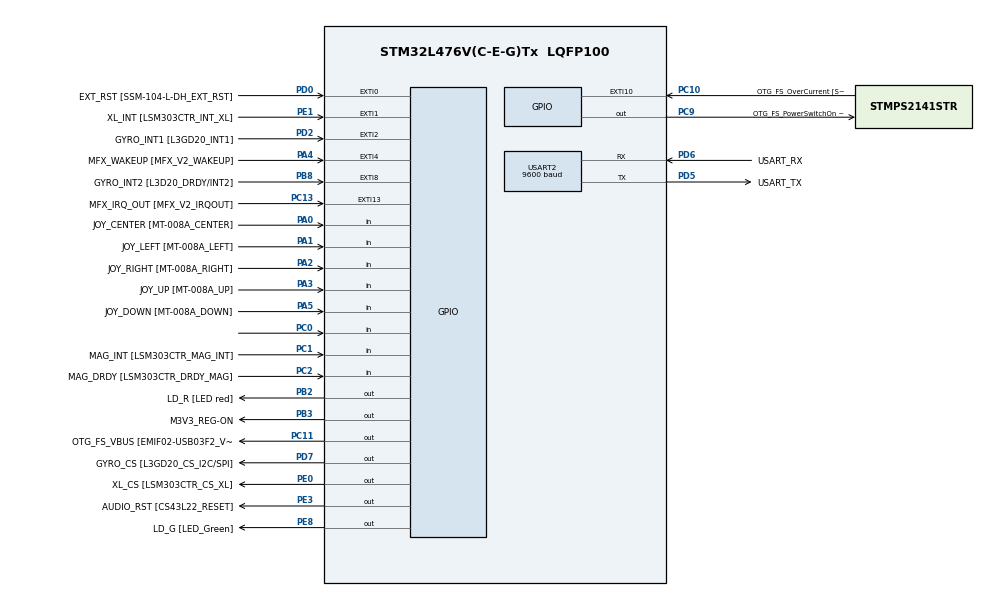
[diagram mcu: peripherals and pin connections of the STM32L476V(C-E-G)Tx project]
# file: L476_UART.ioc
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Mcu.Family=STM32L4
Mcu.Name=STM32L476V(C-E-G)Tx
Mcu.Package=LQFP100
NVIC.PriorityGroup=NVIC_PRIORITYGROUP_4
NVIC.USART2_IRQn=true\:0\:0\:false\:false\:true\:true\:true
PA0.GPIO_Label=JOY_CENTER [MT-008A_CENTER]
PA0.GPIO_Mode=GPIO_MODE_INPUT
PA0.GPIO_PuPd=GPIO_PULLDOWN
PA0.Signal=GPIO_Input
PA1.GPIO_Label=JOY_LEFT [MT-008A_LEFT]
PA1.GPIO_Mode=GPIO_MODE_INPUT
PA1.GPIO_PuPd=GPIO_PULLDOWN
PA1.Signal=GPIO_Input
PA10.GPIO_Label=COM2 [GH08172T_COM2]
PA10.GPIO_Mode=GPIO_MODE_AF_PP
PA10.GPIO_PuPd=GPIO_NOPULL
PA10.GPIO_Speed=GPIO_SPEED_FREQ_LOW
PA10.Signal=LCD_COM2
PA11.GPIO_Label=OTG_FS_DM [EMIF02-USB03F2_D-out]
PA11.GPIO_Mode=GPIO_MODE_AF_PP
PA11.GPIO_PuPd=GPIO_NOPULL
PA11.GPIO_Speed=GPIO_SPEED_FREQ_VERY_HIGH
PA11.Signal=USB_OTG_FS_DM
PA12.GPIO_Label=OTG_FS_DP [EMIF02-USB03F2_D+out]
PA12.GPIO_Mode=GPIO_MODE_AF_PP
PA12.GPIO_PuPd=GPIO_NOPULL
PA12.GPIO_Speed=GPIO_SPEED_FREQ_VERY_HIGH
PA12.Signal=USB_OTG_FS_DP
PA13\ (JTMS-SWDIO).GPIO_Label=SWDIO
PA13\ (JTMS-SWDIO).Mode=Serial_Wire
PA13\ (JTMS-SWDIO).Signal=SYS_JTMS-SWDIO
PA14\ (JTCK-SWCLK).GPIO_Label=SWCLK
PA14\ (JTCK-SWCLK).Mode=Serial_Wire
PA14\ (JTCK-SWCLK).Signal=SYS_JTCK-SWCLK
PA15\ (JTDI).GPIO_Label=SEG10 [GH08172T_SEG10]
PA15\ (JTDI).GPIO_Mode=GPIO_MODE_AF_PP
PA15\ (JTDI).GPIO_PuPd=GPIO_NOPULL
PA15\ (JTDI).GPIO_Speed=GPIO_SPEED_FREQ_LOW
PA15\ (JTDI).Signal=LCD_SEG17
PA2.GPIO_Label=JOY_RIGHT [MT-008A_RIGHT]
PA2.GPIO_Mode=GPIO_MODE_INPUT
PA2.GPIO_PuPd=GPIO_PULLDOWN
PA2.Signal=GPIO_Input
PA3.GPIO_Label=JOY_UP [MT-008A_UP]
PA3.GPIO_Mode=GPIO_MODE_INPUT
PA3.GPIO_PuPd=GPIO_PULLDOWN
PA3.Signal=GPIO_Input
PA4.GPIO_Label=MFX_WAKEUP [MFX_V2_WAKEUP]
PA4.GPIO_ModeDefaultEXTI=GPIO_MODE_EVT_RISING
PA4.GPIO_PuPd=GPIO_NOPULL
PA4.Signal=GPXTI4
PA5.GPIO_Label=JOY_DOWN [MT-008A_DOWN]
PA5.GPIO_Mode=GPIO_MODE_INPUT
PA5.GPIO_PuPd=GPIO_PULLDOWN
PA5.Signal=GPIO_Input
PA6.GPIO_Label=SEG23 [GH08172T_SEG23]
PA6.GPIO_Mode=GPIO_MODE_AF_PP
PA6.GPIO_PuPd=GPIO_NOPULL
PA6.GPIO_Speed=GPIO_SPEED_FREQ_LOW
PA6.Signal=LCD_SEG3
PA7.GPIO_Label=SEG0 [GH08172T_SEG0]
PA7.GPIO_Mode=GPIO_MODE_AF_PP
PA7.GPIO_PuPd=GPIO_NOPULL
PA7.GPIO_Speed=GPIO_SPEED_FREQ_LOW
PA7.Signal=LCD_SEG4
PA8.GPIO_Label=COM0 [GH08172T_COM0]
PA8.GPIO_Mode=GPIO_MODE_AF_PP
PA8.GPIO_PuPd=GPIO_NOPULL
PA8.GPIO_Speed=GPIO_SPEED_FREQ_LOW
PA8.Signal=LCD_COM0
PA9.GPIO_Label=COM1 [GH08172T_COM1]
PA9.GPIO_Mode=GPIO_MODE_AF_PP
PA9.GPIO_PuPd=GPIO_NOPULL
PA9.GPIO_Speed=GPIO_SPEED_FREQ_LOW
PA9.Signal=LCD_COM1
PB0.GPIO_Label=SEG21 [GH08172T_SEG21]
PB0.GPIO_Mode=GPIO_MODE_AF_PP
PB0.GPIO_PuPd=GPIO_NOPULL
PB0.GPIO_Speed=GPIO_SPEED_FREQ_LOW
PB0.Signal=LCD_SEG5
PB1.GPIO_Label=SEG2 [GH08172T_SEG2]
PB1.GPIO_Mode=GPIO_MODE_AF_PP
PB1.GPIO_PuPd=GPIO_NOPULL
PB1.GPIO_Speed=GPIO_SPEED_FREQ_LOW
PB1.Signal=LCD_SEG6
PB10.GPIO_Label=MFX_I2C_SLC [MFX_V2_I2C_SCL]
PB10.GPIO_Mode=GPIO_MODE_AF_OD
PB10.GPIO_PuPdOD=GPIO_PULLUP
PB10.GPIO_Speed=GPIO_SPEED_FREQ_VERY_HIGH
PB10.Signal=I2C2_SCL
PB11.GPIO_Label=MFX_I2C_SDA [MFX_V2_I2C_SDA]
PB11.GPIO_Mode=GPIO_MODE_AF_OD
PB11.GPIO_PuPdOD=GPIO_PULLUP
PB11.GPIO_Speed=GPIO_SPEED_FREQ_VERY_HIGH
PB11.Signal=I2C2_SDA
PB12.GPIO_Label=SEG20 [GH08172T_SEG20]
PB12.GPIO_Mode=GPIO_MODE_AF_PP
PB12.GPIO_PuPd=GPIO_NOPULL
PB12.GPIO_Speed=GPIO_SPEED_FREQ_LOW
PB12.Signal=LCD_SEG12
PB13.GPIO_Label=SEG3 [GH08172T_SEG3]
PB13.GPIO_Mode=GPIO_MODE_AF_PP
PB13.GPIO_PuPd=GPIO_NOPULL
PB13.GPIO_Speed=GPIO_SPEED_FREQ_LOW
PB13.Signal=LCD_SEG13
PB14.GPIO_Label=SEG19 [GH08172T_SEG19]
PB14.GPIO_Mode=GPIO_MODE_AF_PP
PB14.GPIO_PuPd=GPIO_NOPULL
PB14.GPIO_Speed=GPIO_SPEED_FREQ_LOW
PB14.Signal=LCD_SEG14
PB15.GPIO_Label=SEG4 [GH08172T_SEG4]
PB15.GPIO_Mode=GPIO_MODE_AF_PP
PB15.GPIO_PuPd=GPIO_NOPULL
PB15.GPIO_Speed=GPIO_SPEED_FREQ_LOW
PB15.Signal=LCD_SEG15
PB2.GPIO_Label=LD_R [LED red]
PB2.GPIO_ModeDefaultOutputPP=GPIO_MODE_OUTPUT_PP
PB2.GPIO_PuPd=GPIO_PULLUP
PB2.GPIO_Speed=GPIO_SPEED_FREQ_VERY_HIGH
PB2.Signal=GPIO_Output
PB3\ (JTDO-TRACESWO).GPIO_Label=M3V3_REG-ON
PB3\ (JTDO-TRACESWO).GPIO_ModeDefaultOutputPP=GPIO_MODE_OUTPUT_PP
PB3\ (JTDO-TRACESWO).GPIO_PuPd=GPIO_NOPULL
PB3\ (JTDO-TRACESWO).GPIO_Speed=GPIO_SPEED_FREQ_LOW
PB3\ (JTDO-TRACESWO).Signal=GPIO_Output
PB4\ (NJTRST).GPIO_Label=SEG11 [GH08172T_SEG11]
PB4\ (NJTRST).GPIO_Mode=GPIO_MODE_AF_PP
PB4\ (NJTRST).GPIO_PuPd=GPIO_NOPULL
PB4\ (NJTRST).GPIO_Speed=GPIO_SPEED_FREQ_LOW
PB4\ (NJTRST).Signal=LCD_SEG8
PB5.GPIO_Label=SEG12 [GH08172T_SEG12]
PB5.GPIO_Mode=GPIO_MODE_AF_PP
PB5.GPIO_PuPd=GPIO_NOPULL
PB5.GPIO_Speed=GPIO_SPEED_FREQ_LOW
PB5.Signal=LCD_SEG9
PB6.GPIO_FM6=__NULL
PB6.GPIO_Label=I2C1_SCL [SSM-104-L-DH_SCL]
PB6.GPIO_Mode=GPIO_MODE_AF_OD
PB6.GPIO_PuPdOD=GPIO_PULLUP
PB6.GPIO_Speed=GPIO_SPEED_FREQ_VERY_HIGH
PB6.Signal=I2C1_SCL
PB7.GPIO_FM7=__NULL
PB7.GPIO_Label=I2C1_SDA [SSM-104-L-DH_SDA]
PB7.GPIO_Mode=GPIO_MODE_AF_OD
PB7.GPIO_PuPdOD=GPIO_PULLUP
PB7.GPIO_Speed=GPIO_SPEED_FREQ_VERY_HIGH
PB7.Signal=I2C1_SDA
PB8.GPIO_Label=GYRO_INT2 [L3D20_DRDY/INT2]
PB8.GPIO_ModeDefaultEXTI=GPIO_MODE_EVT_RISING
PB8.GPIO_PuPd=GPIO_NOPULL
PB8.Signal=GPXTI8
PB9.GPIO_FM9=__NULL
PB9.GPIO_Label=COM3 [GH08172T_COM3]
PB9.GPIO_Mode=GPIO_MODE_AF_PP
PB9.GPIO_PuPd=GPIO_NOPULL
PB9.GPIO_Speed=GPIO_SPEED_FREQ_LOW
PB9.Signal=LCD_COM3
PC0.Signal=GPIO_Input
PC1.GPIO_Label=MAG_INT [LSM303CTR_MAG_INT]
PC1.GPIO_Mode=GPIO_MODE_INPUT
PC1.GPIO_PuPd=GPIO_NOPULL
PC1.Signal=GPIO_Input
PC10.GPIO_Label=OTG_FS_OverCurrent [STMPS2141STR_FAULT]
PC10.GPIO_ModeDefaultEXTI=GPIO_MODE_EVT_RISING
PC10.GPIO_PuPd=GPIO_NOPULL
PC10.Signal=GPXTI10
PC11.GPIO_Label=OTG_FS_VBUS [EMIF02-USB03F2_Vbus]
PC11.GPIO_ModeDefaultOutputPP=GPIO_MODE_OUTPUT_PP
PC11.GPIO_PuPd=GPIO_NOPULL
PC11.GPIO_Speed=GPIO_SPEED_FREQ_LOW
PC11.Signal=GPIO_Output
PC13.GPIO_Label=MFX_IRQ_OUT [MFX_V2_IRQOUT]
PC13.GPIO_ModeDefaultEXTI=GPIO_MODE_EVT_RISING
PC13.GPIO_PuPd=GPIO_NOPULL
PC13.Signal=GPXTI13
PC14-OSC32_IN\ (PC14).Signal=RCC_OSC32_IN
PC15-OSC32_OUT\ (PC15).Signal=RCC_OSC32_OUT
PC2.GPIO_Label=MAG_DRDY [LSM303CTR_DRDY_MAG]
PC2.GPIO_Mode=GPIO_MODE_INPUT
PC2.GPIO_PuPd=GPIO_NOPULL
PC2.Signal=GPIO_Input
PC3.GPIO_Label=VLCD
PC3.GPIO_Mode=GPIO_MODE_AF_PP
PC3.GPIO_PuPd=GPIO_NOPULL
PC3.GPIO_Speed=GPIO_SPEED_FREQ_LOW
PC3.Signal=LCD_VLCD
PC4.GPIO_Label=SEG22 [GH08172T_SEG22]
PC4.GPIO_Mode=GPIO_MODE_AF_PP
PC4.GPIO_PuPd=GPIO_NOPULL
PC4.GPIO_Speed=GPIO_SPEED_FREQ_LOW
PC4.Signal=LCD_SEG22
PC5.GPIO_Label=SEG1 [GH08172T_SEG1]
PC5.GPIO_Mode=GPIO_MODE_AF_PP
PC5.GPIO_PuPd=GPIO_NOPULL
PC5.GPIO_Speed=GPIO_SPEED_FREQ_LOW
PC5.Signal=LCD_SEG23
PC6.GPIO_Label=SEG14 [GH08172T_SEG14]
PC6.GPIO_Mode=GPIO_MODE_AF_PP
PC6.GPIO_PuPd=GPIO_NOPULL
PC6.GPIO_Speed=GPIO_SPEED_FREQ_LOW
PC6.Signal=LCD_SEG24
PC7.GPIO_Label=SEG9 [GH08172T_SEG9]
PC7.GPIO_Mode=GPIO_MODE_AF_PP
PC7.GPIO_PuPd=GPIO_NOPULL
PC7.GPIO_Speed=GPIO_SPEED_FREQ_LOW
PC7.Signal=LCD_SEG25
PC8.GPIO_Label=SEG13 [GH08172T_SEG13]
PC8.GPIO_Mode=GPIO_MODE_AF_PP
PC8.GPIO_PuPd=GPIO_NOPULL
PC8.GPIO_Speed=GPIO_SPEED_FREQ_LOW
PC8.Signal=LCD_SEG26
PC9.GPIO_Label=OTG_FS_PowerSwitchOn [STMPS2141STR_EN]
PC9.GPIO_ModeDefaultOutputPP=GPIO_MODE_OUTPUT_PP
PC9.GPIO_PuPd=GPIO_NOPULL
PC9.GPIO_Speed=GPIO_SPEED_FREQ_LOW
PC9.PinState=GPIO_PIN_SET
PC9.Signal=GPIO_Output
PD0.GPIO_Label=EXT_RST [SSM-104-L-DH_EXT_RST]
PD0.GPIO_ModeDefaultEXTI=GPIO_MODE_EVT_RISING
PD0.GPIO_PuPd=GPIO_NOPULL
PD0.Signal=GPXTI0
PD1.GPIO_Label=MEMS_SCK [L3GD20_SCL/SPC]
PD1.GPIO_Mode=GPIO_MODE_AF_PP
PD1.GPIO_PuPd=GPIO_NOPULL
PD1.GPIO_Speed=GPIO_SPEED_FREQ_VERY_HIGH
PD1.Signal=SPI2_SCK
PD10.GPIO_Label=SEG17 [GH08172T_SEG17]
PD10.GPIO_Mode=GPIO_MODE_AF_PP
PD10.GPIO_PuPd=GPIO_NOPULL
PD10.GPIO_Speed=GPIO_SPEED_FREQ_LOW
PD10.Signal=LCD_SEG30
PD11.GPIO_Label=SEG6 [GH08172T_SEG6]
PD11.GPIO_Mode=GPIO_MODE_AF_PP
PD11.GPIO_PuPd=GPIO_NOPULL
PD11.GPIO_Speed=GPIO_SPEED_FREQ_LOW
PD11.Signal=LCD_SEG31
PD12.GPIO_Label=SEG16 [GH08172T_SEG16]
PD12.GPIO_Mode=GPIO_MODE_AF_PP
PD12.GPIO_PuPd=GPIO_NOPULL
PD12.GPIO_Speed=GPIO_SPEED_FREQ_LOW
PD12.Signal=LCD_SEG32
PD13.GPIO_Label=SEG7 [GH08172T_SEG7]
PD13.GPIO_Mode=GPIO_MODE_AF_PP
PD13.GPIO_PuPd=GPIO_NOPULL
PD13.GPIO_Speed=GPIO_SPEED_FREQ_LOW
PD13.Signal=LCD_SEG33
PD14.GPIO_Label=SEG15 [GH08172T_SEG15]
PD14.GPIO_Mode=GPIO_MODE_AF_PP
PD14.GPIO_PuPd=GPIO_NOPULL
PD14.GPIO_Speed=GPIO_SPEED_FREQ_LOW
PD14.Signal=LCD_SEG34
PD15.GPIO_Label=SEG8 [GH08172T_SEG8]
PD15.GPIO_Mode=GPIO_MODE_AF_PP
PD15.GPIO_PuPd=GPIO_NOPULL
PD15.GPIO_Speed=GPIO_SPEED_FREQ_LOW
PD15.Signal=LCD_SEG35
PD2.GPIO_Label=GYRO_INT1 [L3GD20_INT1]
PD2.GPIO_ModeDefaultEXTI=GPIO_MODE_EVT_RISING
PD2.GPIO_PuPd=GPIO_NOPULL
PD2.Signal=GPXTI2
PD3.GPIO_Label=MEMS_MISO [L3GD20_SA0/SDO]
PD3.GPIO_Mode=GPIO_MODE_AF_PP
PD3.GPIO_PuPd=GPIO_NOPULL
PD3.GPIO_Speed=GPIO_SPEED_FREQ_VERY_HIGH
PD3.Signal=SPI2_MISO
PD4.GPIO_Label=MEMS_MOSI [L3GD20_SDA/SDI/SDO]
PD4.GPIO_Mode=GPIO_MODE_AF_PP
PD4.GPIO_PuPd=GPIO_NOPULL
PD4.GPIO_Speed=GPIO_SPEED_FREQ_VERY_HIGH
PD4.Signal=SPI2_MOSI
PD5.GPIO_Label=USART_TX
PD5.GPIO_Mode=GPIO_MODE_AF_PP
PD5.GPIO_PuPd=GPIO_PULLUP
PD5.GPIO_Speed=GPIO_SPEED_FREQ_VERY_HIGH
PD5.Mode=Asynchronous
PD5.Signal=USART2_TX
PD6.GPIO_Label=USART_RX
PD6.GPIO_Mode=GPIO_MODE_AF_PP
PD6.GPIO_PuPd=GPIO_PULLUP
PD6.GPIO_Speed=GPIO_SPEED_FREQ_VERY_HIGH
PD6.Mode=Asynchronous
PD6.Signal=USART2_RX
PD7.GPIO_Label=GYRO_CS [L3GD20_CS_I2C/SPI]
PD7.GPIO_ModeDefaultOutputPP=GPIO_MODE_OUTPUT_PP
PD7.GPIO_PuPd=GPIO_NOPULL
PD7.GPIO_Speed=GPIO_SPEED_FREQ_VERY_HIGH
PD7.Signal=GPIO_Output
PD8.GPIO_Label=SEG18 [GH08172T_SEG18]
PD8.GPIO_Mode=GPIO_MODE_AF_PP
PD8.GPIO_PuPd=GPIO_NOPULL
PD8.GPIO_Speed=GPIO_SPEED_FREQ_LOW
PD8.Signal=LCD_SEG28
PD9.GPIO_Label=SEG5 [GH08172T_SEG5]
PD9.GPIO_Mode=GPIO_MODE_AF_PP
PD9.GPIO_PuPd=GPIO_NOPULL
PD9.GPIO_Speed=GPIO_SPEED_FREQ_LOW
PD9.Signal=LCD_SEG29
PE0.GPIO_Label=XL_CS [LSM303CTR_CS_XL]
PE0.GPIO_ModeDefaultOutputPP=GPIO_MODE_OUTPUT_PP
PE0.GPIO_PuPd=GPIO_NOPULL
PE0.GPIO_Speed=GPIO_SPEED_FREQ_LOW
PE0.Signal=GPIO_Output
PE1.GPIO_Label=XL_INT [LSM303CTR_INT_XL]
PE1.GPIO_ModeDefaultEXTI=GPIO_MODE_EVT_RISING
PE1.GPIO_PuPd=GPIO_NOPULL
PE1.Signal=GPXTI1
PE10.GPIO_Label=QSPI_CLK [N25Q128A13EF840E_C]
PE10.GPIO_Mode=GPIO_MODE_AF_PP
PE10.GPIO_PuPd=GPIO_NOPULL
PE10.GPIO_Speed=GPIO_SPEED_FREQ_VERY_HIGH
PE10.Signal=QUADSPI_CLK
PE11.GPIO_Label=QSPI_CS [N25Q128A13EF840E_S\#]
PE11.GPIO_Mode=GPIO_MODE_AF_PP
PE11.GPIO_PuPd=GPIO_NOPULL
PE11.GPIO_Speed=GPIO_SPEED_FREQ_VERY_HIGH
PE11.Signal=QUADSPI_NCS
PE12.GPIO_Label=QSPI_D0 [N25Q128A13EF840E_DQ0]
PE12.GPIO_Mode=GPIO_MODE_AF_PP
PE12.GPIO_PuPd=GPIO_NOPULL
PE12.GPIO_Speed=GPIO_SPEED_FREQ_VERY_HIGH
PE12.Signal=QUADSPI_BK1_IO0
PE13.GPIO_Label=QSPI_D1 [N25Q128A13EF840E_DQ1]
PE13.GPIO_Mode=GPIO_MODE_AF_PP
PE13.GPIO_PuPd=GPIO_NOPULL
PE13.GPIO_Speed=GPIO_SPEED_FREQ_VERY_HIGH
PE13.Signal=QUADSPI_BK1_IO1
PE14.GPIO_Label=QSPI_D2 [N25Q128A13EF840E_DQ2]
PE14.GPIO_Mode=GPIO_MODE_AF_PP
PE14.GPIO_PuPd=GPIO_NOPULL
PE14.GPIO_Speed=GPIO_SPEED_FREQ_VERY_HIGH
PE14.Signal=QUADSPI_BK1_IO2
PE15.GPIO_Label=QSPI_D3 [N25Q128A13EF840E_DQ3]
PE15.GPIO_Mode=GPIO_MODE_AF_PP
PE15.GPIO_PuPd=GPIO_NOPULL
PE15.GPIO_Speed=GPIO_SPEED_FREQ_VERY_HIGH
PE15.Signal=QUADSPI_BK1_IO3
PE2.GPIO_Label=SAI1_MCK [CS43L22_MCLK]
PE2.GPIO_Mode=GPIO_MODE_AF_PP
PE2.GPIO_PuPd=GPIO_NOPULL
PE2.GPIO_Speed=GPIO_SPEED_FREQ_VERY_HIGH
PE2.Signal=SAI1_MCLK_A
PE3.GPIO_Label=AUDIO_RST [CS43L22_RESET]
PE3.GPIO_ModeDefaultOutputPP=GPIO_MODE_OUTPUT_PP
PE3.GPIO_PuPd=GPIO_NOPULL
PE3.GPIO_Speed=GPIO_SPEED_FREQ_HIGH
PE3.Signal=GPIO_Output
PE4.GPIO_Label=SAI1_FS [CS43L22_LRCK]
PE4.GPIO_Mode=GPIO_MODE_AF_PP
PE4.GPIO_PuPd=GPIO_NOPULL
PE4.GPIO_Speed=GPIO_SPEED_FREQ_VERY_HIGH
PE4.Signal=SAI1_FS_A
PE5.GPIO_Label=SAI1_SCK [CS43L22_SCLK]
PE5.GPIO_Mode=GPIO_MODE_AF_PP
PE5.GPIO_PuPd=GPIO_NOPULL
PE5.GPIO_Speed=GPIO_SPEED_FREQ_VERY_HIGH
PE5.Signal=SAI1_SCK_A
PE6.GPIO_Label=SAI1_SD [CS43L22_SDIN]
PE6.GPIO_Mode=GPIO_MODE_AF_PP
PE6.GPIO_PuPd=GPIO_NOPULL
PE6.GPIO_Speed=GPIO_SPEED_FREQ_VERY_HIGH
PE6.Signal=SAI1_SD_A
PE7.GPIO_Label=AUDIO_DIN [MP34DT01_DOUT]
PE7.GPIO_Mode=GPIO_MODE_AF_PP
PE7.GPIO_PuPd=GPIO_NOPULL
PE7.GPIO_Speed=GPIO_SPEED_FREQ_VERY_HIGH
PE7.Signal=SAI1_SD_B
PE8.GPIO_Label=LD_G [LED_Green]
PE8.GPIO_ModeDefaultOutputPP=GPIO_MODE_OUTPUT_PP
PE8.GPIO_PuPd=GPIO_PULLUP
PE8.GPIO_Speed=GPIO_SPEED_FREQ_VERY_HIGH
PE8.Signal=GPIO_Output
PE9.GPIO_Label=AUDIO_CLK [MP34DT01_CLK]
PE9.GPIO_Mode=GPIO_MODE_AF_PP
PE9.GPIO_PuPd=GPIO_NOPULL
PE9.GPIO_Speed=GPIO_SPEED_FREQ_LOW
PE9.Signal=SAI1_FS_B
PH0-OSC_IN\ (PH0).Signal=RCC_OSC_IN
PH1-OSC_OUT\ (PH1).Signal=RCC_OSC_OUT
ProjectManager.HeapSize=0x200
ProjectManager.StackSize=0x400
ProjectManager.TargetToolchain=STM32CubeIDE
RCC.AHBFreq_Value=80000000
RCC.APB1Freq_Value=80000000
RCC.APB1TimFreq_Value=80000000
RCC.APB2Freq_Value=80000000
RCC.APB2TimFreq_Value=80000000
RCC.CortexFreq_Value=80000000
RCC.HCLKFreq_Value=80000000
RCC.HSE_VALUE=8000000
RCC.HSI_VALUE=16000000
RCC.LSE_VALUE=32768
RCC.MSI_VALUE=4000000
RCC.PLLN=40
RCC.PREFETCH_ENABLE=1
RCC.SYSCLKFreq_VALUE=80000000
RCC.SYSCLKSource=RCC_SYSCLKSOURCE_PLLCLK
RCC.VCOOutputFreq_Value=160000000
USART2.BaudRate=9600
USART2.VirtualMode-Asynchronous=VM_ASYNC
board=STM32L476G-DISCO

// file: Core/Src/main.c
/* USER CODE BEGIN Header */
/**
  ******************************************************************************
  * @file           : main.c
  * @brief          : Main program body
  ******************************************************************************
  * @attention
  *
  * <h2><center>&copy; Copyright (c) 2021 STMicroelectronics.
  * All rights reserved.</center></h2>
  *
  * This software component is licensed by ST under BSD 3-Clause license,
  * the "License"; You may not use this file except in compliance with the
  * License. You may obtain a copy of the License at:
  *                        opensource.org/licenses/BSD-3-Clause
  *
  ******************************************************************************
  */
/* USER CODE END Header */
#include "main.h"
#include "usart.h"
#include "gpio.h"

/* USER CODE BEGIN PD */
#define RX_BUFFER_SIZE   12
/* USER CODE END PD */

/* USER CODE BEGIN PV */
/**
  * @brief RX buffers for storing received data
  */
uint8_t aRXBufferA[RX_BUFFER_SIZE];
uint8_t aRXBufferB[RX_BUFFER_SIZE];

uint8_t aTextInfoStart[] = "\r\nStarting UART Connection....\r\n";
uint8_t aTextInfoSwap1[] = "\r\n- Current RX buffer is full : ";
uint8_t aTextInfoSwap2[] = "\r\n- Reception will go on in alternate buffer\r\n";

__IO uint32_t     uwNbReceivedChars;
__IO uint32_t     uwBufferReadyIndication;
uint8_t *pBufferReadyForUser;
uint8_t *pBufferReadyForReception;
/* USER CODE END PV */

void SystemClock_Config(void);
/* USER CODE BEGIN PFP */
void StartReception(void);
void PrintData(uint8_t *String, uint32_t Size);
void UserDataTreatment(uint8_t *DataBuffer, uint32_t Size);
void HandleContinuousReception(void);
void USART_CharReception_Callback(void);
/* USER CODE END PFP */

int main(void)
{

  /* MCU Configuration--------------------------------------------------------*/

  /* Reset of all peripherals, Initializes the Flash interface and the Systick. */

  LL_APB2_GRP1_EnableClock(LL_APB2_GRP1_PERIPH_SYSCFG);
  LL_APB1_GRP1_EnableClock(LL_APB1_GRP1_PERIPH_PWR);

  NVIC_SetPriorityGrouping(NVIC_PRIORITYGROUP_4);

  /* System interrupt init*/

  /* Configure the system clock */
  SystemClock_Config();

  /* Initialize all configured peripherals */
  MX_GPIO_Init();
  MX_USART2_UART_Init();
  /* Initiate Continuous reception */
    StartReception();
  /* Infinite loop */
  /* USER CODE BEGIN WHILE */
  while (1)
  {
	/* Handle Continuous reception */
	HandleContinuousReception();
    /* USER CODE END WHILE */

  }
}

void SystemClock_Config(void)
{
  LL_FLASH_SetLatency(LL_FLASH_LATENCY_4);
  while(LL_FLASH_GetLatency()!= LL_FLASH_LATENCY_4)
  {
  }
  LL_PWR_SetRegulVoltageScaling(LL_PWR_REGU_VOLTAGE_SCALE1);
  LL_RCC_MSI_Enable();

   /* Wait till MSI is ready */
  while(LL_RCC_MSI_IsReady() != 1)
  {

  }
  LL_RCC_MSI_EnableRangeSelection();
  LL_RCC_MSI_SetRange(LL_RCC_MSIRANGE_6);
  LL_RCC_MSI_SetCalibTrimming(0);
  LL_RCC_PLL_ConfigDomain_SYS(LL_RCC_PLLSOURCE_MSI, LL_RCC_PLLM_DIV_1, 40, LL_RCC_PLLR_DIV_2);
  LL_RCC_PLL_EnableDomain_SYS();
  LL_RCC_PLL_Enable();

   /* Wait till PLL is ready */
  while(LL_RCC_PLL_IsReady() != 1)
  {

  }
  LL_RCC_SetSysClkSource(LL_RCC_SYS_CLKSOURCE_PLL);

   /* Wait till System clock is ready */
  while(LL_RCC_GetSysClkSource() != LL_RCC_SYS_CLKSOURCE_STATUS_PLL)
  {

  }
  LL_RCC_SetAHBPrescaler(LL_RCC_SYSCLK_DIV_1);
  LL_RCC_SetAPB1Prescaler(LL_RCC_APB1_DIV_1);
  LL_RCC_SetAPB2Prescaler(LL_RCC_APB2_DIV_1);

  LL_Init1msTick(80000000);

  LL_SetSystemCoreClock(80000000);
  LL_RCC_SetUSARTClockSource(LL_RCC_USART2_CLKSOURCE_PCLK1);
}

/* USER CODE BEGIN 4 */
/**
  * @brief  Send Txt information message on USART Tx line (to PC Com port).
  * @param  None
  * @retval None
  */
void PrintData(uint8_t *String, uint32_t Size)
{
  uint32_t index = 0;
  uint8_t *pchar = String;

  /* Send characters one per one, until last char to be sent */
  for (index = 0; index < Size; index++)
  {
    /* Wait for TXE flag to be raised */
    while (!LL_USART_IsActiveFlag_TXE(USART2))
    {
    }

    /* Write character in Transmit Data register.
       TXE flag is cleared by writing data in TDR register */
    LL_USART_TransmitData8(USART2, *pchar++);
  }

  /* Wait for TC flag to be raised for last char */
  while (!LL_USART_IsActiveFlag_TC(USART2))
  {
  }
}

/**
  * @brief  This function prints user info on PC com port and initiates RX transfer
  * @param  None
  * @retval None
  */
void StartReception(void)
{
  /* Initializes Buffer swap mechanism :
     - 2 physical buffers aRXBufferA and aRXBufferB (RX_BUFFER_SIZE length)

  */
  pBufferReadyForReception = aRXBufferA;
  pBufferReadyForUser      = aRXBufferB;
  uwNbReceivedChars = 0;
  uwBufferReadyIndication = 0;

  /* Print user info on PC com port */
  PrintData(aTextInfoStart, sizeof(aTextInfoStart));

  /* Clear Overrun flag, in case characters have already been sent to USART */
  LL_USART_ClearFlag_ORE(USART2);

  /* Enable RXNE and Error interrupts */
  LL_USART_EnableIT_RXNE(USART2);
  LL_USART_EnableIT_ERROR(USART2);
}

/**
  * @brief  This function monitors buffer filling indication and calls User callbacks when a buffer is full
  * @param  None
  * @retval None
  */
void HandleContinuousReception(void)
{
  /* Checks if Buffer full indication has been set */
  if (uwBufferReadyIndication != 0)
  {
    /* Reset indication */
    uwBufferReadyIndication = 0;

    /* Call user Callback in charge of consuming data from filled buffer */
    UserDataTreatment(pBufferReadyForUser, RX_BUFFER_SIZE);
  }
}

/**
  * @brief  Example of User callback in charge of consuming received data.
  * @param  None
  * @retval None
  */
void UserDataTreatment(uint8_t *DataBuffer, uint32_t Size)
{
  /* Display info message + buffer content on PC com port */
  PrintData(aTextInfoSwap1, sizeof(aTextInfoSwap1));
  PrintData(DataBuffer, Size);
  PrintData(aTextInfoSwap2, sizeof(aTextInfoSwap2));
}

/**
  * @brief  Function called from USART IRQ Handler when RXNE flag is set
  *         Function is in charge of reading character received on USART RX line.
  * @param  None
  * @retval None
  */
void USART_CharReception_Callback(void)
{
uint8_t *ptemp;

  /* Read Received character. RXNE flag is cleared by reading of RDR register */
  pBufferReadyForReception[uwNbReceivedChars++] = LL_USART_ReceiveData8(USART2);

  /* Checks if Buffer full indication has been set */
  if (uwNbReceivedChars >= RX_BUFFER_SIZE)
  {
    /* Set Buffer swap indication */
    uwBufferReadyIndication = 1;

    /* Swap buffers for next bytes to be received */
    ptemp = pBufferReadyForUser;
    pBufferReadyForUser = pBufferReadyForReception;
    pBufferReadyForReception = ptemp;
    uwNbReceivedChars = 0;
  }
}
/* USER CODE END 4 */

void Error_Handler(void)
{
  /* USER CODE BEGIN Error_Handler_Debug */
  __IO uint32_t isr_reg;

  /* Disable USARTx_IRQn */
  NVIC_DisableIRQ(USART2_IRQn);

  /* Error handling example :
	- Read USART ISR register to identify flag that leads to IT raising
	- Perform corresponding error handling treatment according to flag
  */
  isr_reg = LL_USART_ReadReg(USART2, ISR);
  if (isr_reg & LL_USART_ISR_NE)
  {
	/* case Noise Error flag is raised : Clear NF Flag */
	LL_USART_ClearFlag_NE(USART2);
  }
  else
  {

  }
  /* USER CODE END Error_Handler_Debug */
}

/************************ (C) COPYRIGHT STMicroelectronics *****END OF FILE****/
